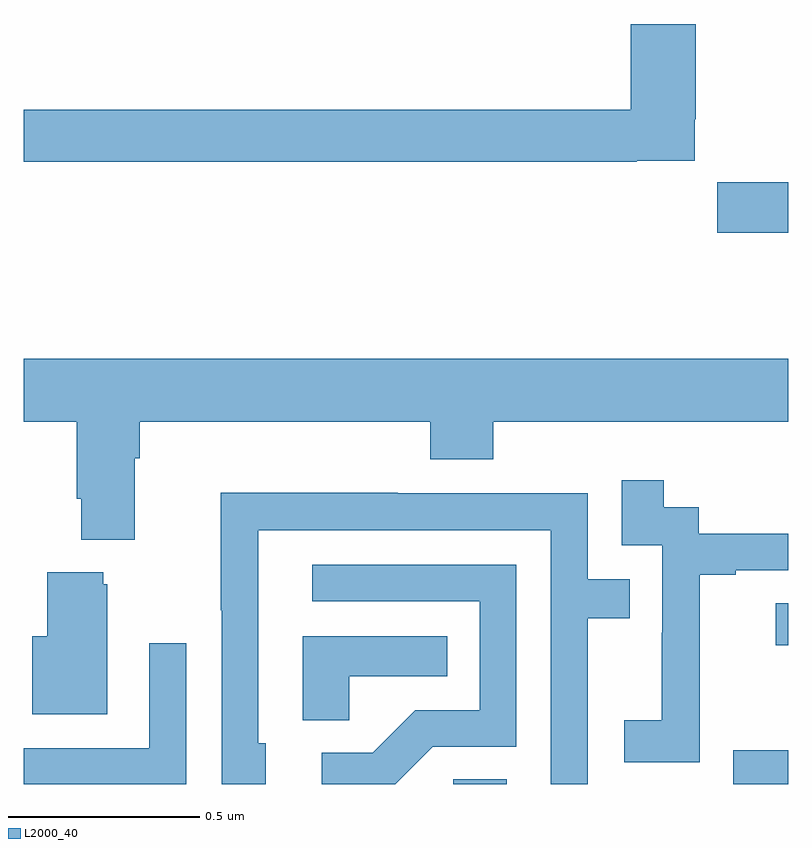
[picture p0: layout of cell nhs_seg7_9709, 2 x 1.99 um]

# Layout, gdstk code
import gdstk
lib = gdstk.Library(unit=1e-6, precision=1e-09)
def R(c, l, rs):  # rectangles x0, y0, x1, y1
    for r in rs: c.add(gdstk.rectangle(r[:2], r[2:], *l))
def P(c, l, *ps):  # polygons
    for p in ps: c.add(gdstk.Polygon(p, *l))
L2000_40 = (2000, 40)

nhs_seg7_9709 = lib.new_cell('nhs_seg7_9709')
R(nhs_seg7_9709, L2000_40, [(242.124,1001,242.263,1001.012), (242.856,1001,243,1001.088), (242.967,1001.363,243,1001.473), (242.814,1002.442,243,1002.574)])
P(nhs_seg7_9709, L2000_40, [(242.604,1002.63),(242.755,1002.63),(242.755,1002.739),(242.758,1002.739),(242.758,1002.988),(242.588,1002.988),(242.588,1002.764),(241,1002.764),(241,1002.628),(242.604,1002.628)],
  [(241.291,1001.852),(241.304,1001.852),(241.304,1001.948),(242.063,1001.948),(242.063,1001.849),(242.228,1001.849),(242.228,1001.948),(243,1001.948),(243,1002.112),(241,1002.112),(241,1001.948),(241.139,1001.948),(241.139,1001.746),(241.151,1001.746),(241.151,1001.639),(241.291,1001.639)],
  [(242.769,1001.263),(242.768,1001.263),(242.768,1001.547),(242.863,1001.547),(242.863,1001.559),(243,1001.559),(243,1001.655),(242.766,1001.655),(242.766,1001.724),(242.674,1001.724),(242.674,1001.794),(242.565,1001.794),(242.565,1001.625),(242.67,1001.625),(242.67,1001.396),(242.669,1001.396),(242.669,1001.167),(242.571,1001.167),(242.571,1001.057),(242.769,1001.057)],
  [(241.633,1001.106),(241.614,1001.106),(241.614,1001.664),(242.379,1001.664),(242.379,1001),(242.475,1001),(242.475,1001.434),(242.585,1001.434),(242.585,1001.535),(242.475,1001.535),(242.475,1001.76),(241.979,1001.76),(241.979,1001.762),(241.516,1001.762),(241.516,1001.455),(241.518,1001.455),(241.518,1001),(241.633,1001)],
  [(242.005,1001.032),(242.07,1001.097),(242.289,1001.097),(242.289,1001.574),(241.755,1001.574),(241.755,1001.478),(242.193,1001.478),(242.193,1001.193),(242.024,1001.193),(241.913,1001.082),(241.779,1001.082),(241.779,1001),(241.972,1001)],
  [(241.219,1001.523),(241.208,1001.523),(241.208,1001.554),(241.061,1001.554),(241.061,1001.386),(241.022,1001.386),(241.022,1001.183),(241.219,1001.183)],
  [(241.851,1001.282),(242.108,1001.282),(242.108,1001.386),(241.73,1001.386),(241.73,1001.167),(241.851,1001.167)],
  [(241.425,1001.368),(241.329,1001.368),(241.329,1001.094),(241,1001.094),(241,1001),(241.425,1001)])

lib.write_gds('nhs_seg7_9709.gds')
